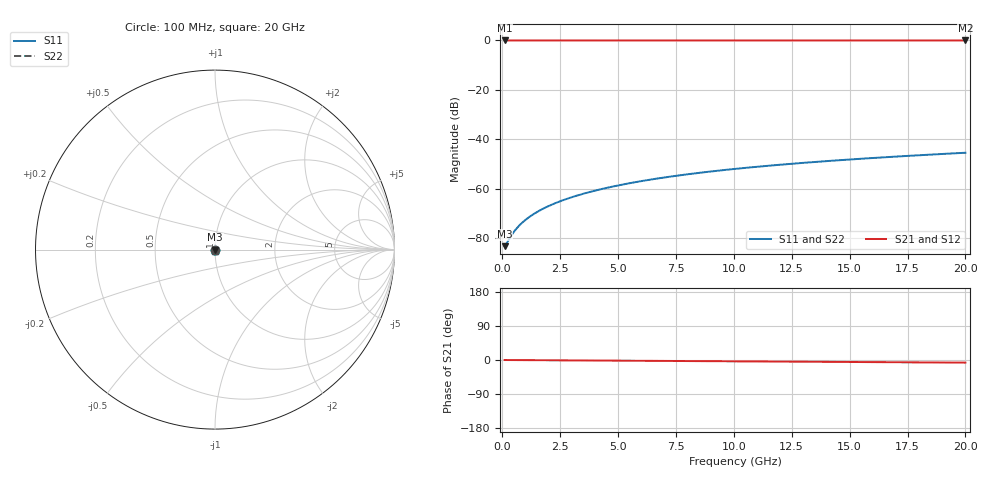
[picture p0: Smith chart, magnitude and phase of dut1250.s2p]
! Touchstone file exported from HFSS 2026.1.0
!  File:  C:/ffzhzh/LocalFiles/Ansys_Project_Files/temp_train_TSV_1250_1783193697_18472.aedt
!  Generated:  03:36:20 AM Jul  5, 2026
!  Design:  TSV
!  Project:  temp_train_TSV_1250_1783193697_18472
! Variables:
!  h_bsmrdl = 2um
!  h_ox = 20um
!  h_rdl = 5um
!  h_sub = 66.48um
!  h_tmrdl = 5um
!  h_tsv = 66.48um
!  h_via = 3um
!  l_bsmrdl = 300um
!  l_sub = 428.04um
!  l_tmrdl = 200um
!  m_sub = 200um
!  pitch = 53.15um
!  r_tsv = 14.02um
!  s_tmrdl = 10um
!  w_bsmrdl = 18um
!  w_sub = 500um
!  w_tmrdl = 12um
!  x_tsv_center1 = 206um
!  x_tsv_center2 = 524um
!  x_tsv_center3 = 736um
!  x_tsv_center4 = 1054um
!  x_tsv_center5 = 1266um
!  x_tsv_center6 = 1584um
# GHz S MA R 50.000000
! Terminal data exported
! Port[1] = TSV1_1_T1
! Port[2] = TSV1_1_T2
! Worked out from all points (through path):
!   200 points, 100 MHz to 20 GHz, reference 50 ohm
!   highest |S21| = 0.00 dB at 100 MHz (marker M1); lowest = 0.0 dB at 20 GHz (marker M2)
!   lowest |S11| = -83.2 dB at 100 MHz (marker M3), VSWR 1.00, Z = 50 + j0.000834 ohm
!   |S11| at or under -10 dB: start of sweep to end of sweep
!   |S22| runs from -83.2 to -45.4 dB; largest |S21 - S12| = 2.4e-15
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0.1  6.919e-05 6.9  0.9999 -0.0  0.9999 -0.0  6.919e-05 6.9
! Gamma 0 0 0 0
! Port Impedance 50 0 50 0
0.3  9.702e-05 8.4  0.9999 -0.1  0.9999 -0.1  9.702e-05 8.4
0.6  0.0001542 -6.2  0.9998 -0.2  0.9998 -0.2  0.0001542 -6.2
0.7  0.0001742 -11.6  0.9998 -0.3  0.9998 -0.3  0.0001742 -11.6
0.9  0.0002147 -21.3  0.9998 -0.3  0.9998 -0.3  0.0002147 -21.3
1.2  0.0002765 -32.8  0.9998 -0.4  0.9998 -0.4  0.0002765 -32.8
1.4  0.0003185 -38.6  0.9997 -0.5  0.9997 -0.5  0.0003184 -38.6
1.6  0.000361 -43.4  0.9997 -0.6  0.9997 -0.6  0.000361 -43.4
2  0.0004481 -50.5  0.9997 -0.7  0.9997 -0.7  0.0004481 -50.6
2.4  0.0005376 -55.6  0.9997 -0.8  0.9997 -0.8  0.0005375 -55.6
2.9  0.0006527 -60.1  0.9997 -1.0  0.9997 -1.0  0.0006526 -60.1
3.5  0.0007952 -63.9  0.9996 -1.2  0.9996 -1.2  0.0007952 -63.9
4.2  0.0009671 -67.1  0.9996 -1.5  0.9996 -1.5  0.000967 -67.1
5  0.00117 -69.9  0.9996 -1.8  0.9996 -1.8  0.00117 -69.9
5.9  0.001404 -72.3  0.9995 -2.1  0.9995 -2.1  0.001404 -72.3
6.8  0.001642 -74.2  0.9995 -2.4  0.9995 -2.4  0.001642 -74.2
8.3  0.002048 -76.8  0.9994 -2.9  0.9994 -2.9  0.002048 -76.8
10.1  0.002542 -79.3  0.9994 -3.5  0.9994 -3.5  0.002542 -79.3
11.7  0.002986 -81.1  0.9993 -4.1  0.9993 -4.1  0.002986 -81.1
13.4  0.003462 -82.8  0.9993 -4.7  0.9993 -4.7  0.003462 -82.8
16.7  0.0044 -85.4  0.9992 -5.8  0.9992 -5.8  0.004399 -85.4
20  0.005359 -87.5  0.9991 -7.0  0.9991 -7.0  0.005358 -87.5
